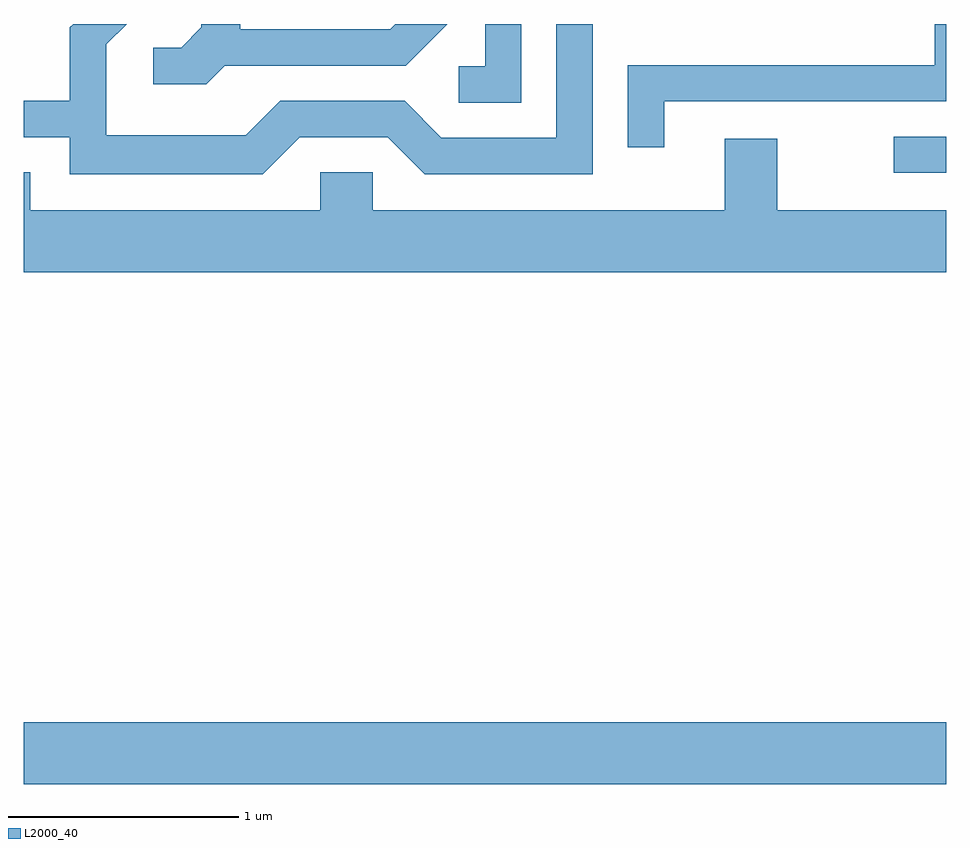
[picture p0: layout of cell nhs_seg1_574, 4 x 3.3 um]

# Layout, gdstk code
import gdstk
lib = gdstk.Library(unit=1e-6, precision=1e-09)
def R(c, l, rs):  # rectangles x0, y0, x1, y1
    for r in rs: c.add(gdstk.rectangle(r[:2], r[2:], *l))
def P(c, l, *ps):  # polygons
    for p in ps: c.add(gdstk.Polygon(p, *l))
L2000_40 = (2000, 40)

nhs_seg1_574 = lib.new_cell('nhs_seg1_574')
R(nhs_seg1_574, L2000_40, [(201.611,948.416,205.611,948.684), (205.383,951.066,205.611,951.224)])
P(nhs_seg1_574, L2000_40, [(202.807,951.221),(203.189,951.221),(203.349,951.061),(204.079,951.061),(204.079,951.712),(203.921,951.712),(203.921,951.219),(203.422,951.219),(203.262,951.379),(202.724,951.379),(202.574,951.229),(201.969,951.229),(201.969,951.624),(202.057,951.712),(201.826,951.712),(201.811,951.697),(201.811,951.379),(201.611,951.379),(201.611,951.221),(201.811,951.221),(201.811,951.061),(202.647,951.061)],
  [(203.769,951.712),(203.611,951.712),(203.611,951.529),(203.498,951.529),(203.498,951.371),(203.769,951.371)],
  [(202.482,951.531),(203.267,951.531),(203.447,951.712),(203.222,951.712),(203.199,951.689),(202.549,951.689),(202.549,951.712),(202.381,951.712),(202.381,951.697),(202.294,951.609),(202.173,951.609),(202.173,951.451),(202.402,951.451)],
  [(204.389,951.376),(205.611,951.376),(205.611,951.712),(205.561,951.712),(205.561,951.534),(204.231,951.534),(204.231,951.178),(204.389,951.178)],
  [(205.611,950.904),(204.879,950.904),(204.879,951.214),(204.651,951.214),(204.651,950.904),(203.124,950.904),(203.124,951.069),(202.896,951.069),(202.896,950.904),(201.639,950.904),(201.639,951.069),(201.611,951.069),(201.611,950.636),(205.611,950.636)])

lib.write_gds('nhs_seg1_574.gds')
